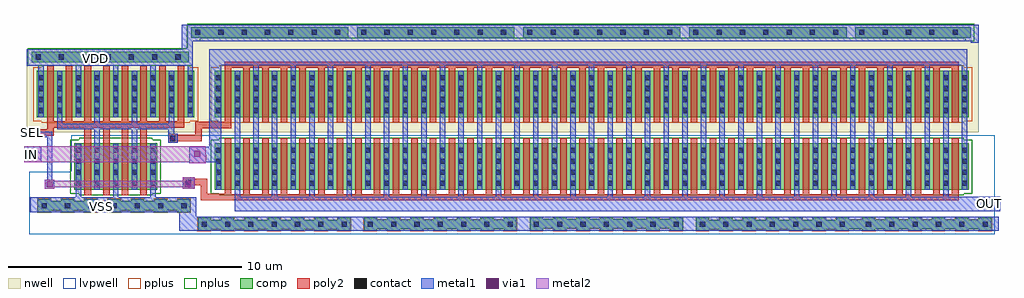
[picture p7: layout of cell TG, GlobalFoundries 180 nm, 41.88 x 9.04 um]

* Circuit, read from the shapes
.subckt TG IN OUT SEL VDD VSS
XM1 n1 SEL VSS VSS nfet_03v3 w=2u l=0.28u m=4
XM2 OUT SEL IN VSS nfet_03v3 w=2u l=0.28u m=40
XM3 n1 SEL VDD VDD pfet_03v3 w=2u l=0.28u m=8
XM4 OUT n1 IN VDD pfet_03v3 w=2u l=0.28u m=40
.ends

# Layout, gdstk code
import gdstk
lib = gdstk.Library(unit=1e-6, precision=1e-09)
def R(c, l, rs):  # rectangles x0, y0, x1, y1
    for r in rs: c.add(gdstk.rectangle(r[:2], r[2:], *l))
def A(c, l, x, y, w, h, nx, ny, dx, dy):  # array of equal rectangles
    R(c, l, [(x+i*dx, y+j*dy, x+i*dx+w, y+j*dy+h) for i in range(nx) for j in range(ny)])
nwell = (21, 0)
comp = (22, 0)
poly2 = (30, 0)
pplus = (31, 0)
nplus = (32, 0)
contact = (33, 0)
metal1 = (34, 0)
via1 = (35, 0)
metal2 = (36, 0)
lvpwell = (204, 0)

pmos_3p3_q3y3ku = lib.new_cell('pmos_3p3_Q3Y3KU')
R(pmos_3p3_q3y3ku, nwell, [(-16.61,-1.65,16.61,1.65)])
R(pmos_3p3_q3y3ku, comp, [(-16.18,-1,16.18,1)])
A(pmos_3p3_q3y3ku, poly2, -15.74, -1.22, 0.28, 2.44, 40, 1, 0.8, 0)
R(pmos_3p3_q3y3ku, pplus, [(-15.97,-1.23,15.97,-1.16), (-16.34,-1.16,16.34,1.16), (-15.97,1.16,15.97,1.23)])
A(pmos_3p3_q3y3ku, contact, -16.11, -0.815, 0.22, 0.22, 41, 4, 0.8, 0.47)
A(pmos_3p3_q3y3ku, metal1, -16.115, -0.99, 0.23, 1.98, 41, 1, 0.8, 0)

pmos_3p3_mlzuar = lib.new_cell('pmos_3p3_MLZUAR')
R(pmos_3p3_mlzuar, nwell, [(-3.81,-1.65,3.81,1.65)])
R(pmos_3p3_mlzuar, comp, [(-3.38,-1,3.38,1)])
A(pmos_3p3_mlzuar, poly2, -2.94, -1.22, 0.28, 2.44, 8, 1, 0.8, 0)
R(pmos_3p3_mlzuar, pplus, [(-3.17,-1.23,3.17,-1.16), (-3.54,-1.16,3.54,1.16), (-3.17,1.16,3.17,1.23)])
A(pmos_3p3_mlzuar, contact, -3.31, -0.815, 0.22, 0.22, 9, 4, 0.8, 0.47)
A(pmos_3p3_mlzuar, metal1, -3.315, -0.99, 0.23, 1.98, 9, 1, 0.8, 0)

nmos_3p3_ecasta = lib.new_cell('nmos_3p3_ECASTA')
R(nmos_3p3_ecasta, comp, [(-1.78,-1,1.78,1)])
A(nmos_3p3_ecasta, poly2, -1.34, -1.22, 0.28, 2.44, 4, 1, 0.8, 0)
R(nmos_3p3_ecasta, nplus, [(-1.57,-1.23,1.57,-1.16), (-1.94,-1.16,1.94,1.16), (-1.57,1.16,1.57,1.23)])
A(nmos_3p3_ecasta, contact, -1.71, -0.815, 0.22, 0.22, 5, 4, 0.8, 0.47)
A(nmos_3p3_ecasta, metal1, -1.715, -0.99, 0.23, 1.98, 5, 1, 0.8, 0)
R(nmos_3p3_ecasta, lvpwell, [(-1.9,-1.34,1.9,1.34)])

nmos_3p3_aebeg7 = lib.new_cell('nmos_3p3_AEBEG7')
R(nmos_3p3_aebeg7, comp, [(-16.18,-1,16.18,1)])
A(nmos_3p3_aebeg7, poly2, -15.74, -1.22, 0.28, 2.44, 40, 1, 0.8, 0)
R(nmos_3p3_aebeg7, nplus, [(-15.97,-1.23,15.97,-1.16), (-16.34,-1.16,16.34,1.16), (-15.97,1.16,15.97,1.23)])
A(nmos_3p3_aebeg7, contact, -16.11, -0.815, 0.22, 0.22, 41, 4, 0.8, 0.47)
A(nmos_3p3_aebeg7, metal1, -16.115, -0.99, 0.23, 1.98, 41, 1, 0.8, 0)
R(nmos_3p3_aebeg7, lvpwell, [(-16.3,-1.34,16.3,1.34)])

c_tg = lib.new_cell('TG')
A(c_tg, nwell, -11.87, -0.18, 0.315, 0.205, 6, 1, 1, 0)
R(c_tg, nwell, [(-6.35,-0.36,27.645,0.025), (-13.195,0.025,27.645,0.3), (-6.35,0.3,27.645,1.355)])
A(c_tg, comp, -5.85, -7.495, 0.535, 0.075, 7, 1, 1, 0)
A(c_tg, comp, 1.275, -7.495, 0.535, 0.085, 7, 1, 1, 0)
A(c_tg, comp, 8.4, -7.495, 0.535, 0.105, 7, 1, 1, 0)
A(c_tg, comp, 15.525, -7.495, 0.535, 0.065, 7, 1, 1, 0)
A(c_tg, comp, 22.65, -7.495, 0.535, 0.085, 6, 1, 1, 0)
A(c_tg, comp, 15.525, -7.04, 0.535, 0.11, 6, 1, 1, 0)
A(c_tg, comp, -5.85, -7.03, 0.535, 0.1, 7, 1, 1, 0)
A(c_tg, comp, 1.275, -7.02, 0.535, 0.09, 7, 1, 1, 0)
A(c_tg, comp, 22.65, -7.02, 0.535, 0.09, 6, 1, 1, 0)
A(c_tg, comp, 8.4, -7, 0.535, 0.07, 7, 1, 1, 0)
A(c_tg, comp, -12.72, -6.695, 0.535, 0.085, 7, 1, 1, 0)
A(c_tg, comp, -12.72, -6.22, 0.535, 0.09, 7, 1, 1, 0)
A(c_tg, comp, -6.15, 0.795, 6.745, 0.44, 4, 1, 7.125, 0)
R(c_tg, comp, [(15.525,-7.43,22.06,-7.41), (-5.85,-7.42,0.685,-7.03), (1.275,-7.41,7.81,-7.02), (15.525,-7.41,28.185,-7.04), (8.4,-7.39,14.935,-7), (21.525,-7.04,28.185,-7.02), (21.525,-7.02,22.06,-6.93), (-12.72,-6.61,-6.185,-6.22), (-12.995,-0.26,-6.25,0.18), (22.35,0.795,27.29,1.235)])
A(c_tg, poly2, -10.725, -3.52, 0.28, 0.44, 4, 1, 0.8, 0)
R(c_tg, poly2, [(-5.745,-6.19,26.775,-5.915), (-5.745,-5.915,-4.425,-5.91), (-5.745,-5.91,-5.465,-5.535), (-4.705,-5.91,-4.43,-5.71), (-6.51,-5.685,-5.985,-5.535), (-6.51,-5.535,-5.465,-5.255), (-6.51,-5.255,-5.985,-5.185), (-7.14,-3.725,-6.73,-3.66), (-7.14,-3.66,-5.695,-3.38), (-13.155,-3.48,-12.72,-3.425), (-13.155,-3.425,-12.045,-3.145), (-7.14,-3.38,-6.73,-3.335), (-5.975,-3.38,-5.695,-3.095), (-13.155,-3.145,-12.72,-3.065), (-12.325,-3.145,-12.045,-3.08), (-5.975,-3.095,-4.425,-2.815), (-12.325,-3.08,-6.445,-2.8), (-4.705,-0.645,-4.44,-0.505), (-4.705,-0.505,26.775,-0.24)])
A(c_tg, pplus, -5.88, -7.515, 0.595, 0.075, 7, 1, 1, 0)
A(c_tg, pplus, 1.245, -7.515, 0.595, 0.085, 7, 1, 1, 0)
A(c_tg, pplus, 8.37, -7.515, 0.595, 0.105, 7, 1, 1, 0)
A(c_tg, pplus, 15.495, -7.515, 0.595, 0.065, 7, 1, 1, 0)
A(c_tg, pplus, 22.62, -7.515, 0.595, 0.085, 6, 1, 1, 0)
A(c_tg, pplus, 15.495, -7.02, 0.595, 0.115, 6, 1, 1, 0)
A(c_tg, pplus, -5.88, -7.01, 0.595, 0.105, 7, 1, 1, 0)
A(c_tg, pplus, 1.245, -7, 0.595, 0.095, 7, 1, 1, 0)
A(c_tg, pplus, 22.62, -7, 0.595, 0.095, 6, 1, 1, 0)
A(c_tg, pplus, 8.37, -6.98, 0.595, 0.075, 7, 1, 1, 0)
A(c_tg, pplus, -12.75, -6.715, 0.595, 0.085, 7, 1, 1, 0)
A(c_tg, pplus, -12.75, -6.2, 0.595, 0.095, 7, 1, 1, 0)
R(c_tg, pplus, [(15.495,-7.45,22.09,-7.43), (-5.88,-7.44,0.715,-7.01), (1.245,-7.43,7.84,-7), (15.495,-7.43,28.215,-7.02), (8.37,-7.41,14.965,-6.98), (21.495,-7.02,28.215,-7), (21.495,-7,22.09,-6.905), (-12.75,-6.63,-6.155,-6.2)])
R(c_tg, nplus, [(-13.155,-0.42,-6.09,0.34), (-6.31,0.34,-6.09,0.635), (-6.31,0.635,-5.76,0.765), (27.055,0.635,27.45,0.765), (-6.31,0.765,27.45,1.395)])
A(c_tg, contact, -5.695, -7.32, 0.22, 0.22, 7, 1, 1, 0)
A(c_tg, contact, 1.43, -7.32, 0.22, 0.22, 7, 1, 1, 0)
A(c_tg, contact, 8.555, -7.32, 0.22, 0.22, 7, 1, 1, 0)
A(c_tg, contact, 15.68, -7.32, 0.22, 0.22, 7, 1, 1, 0)
A(c_tg, contact, 22.805, -7.32, 0.22, 0.22, 6, 1, 1, 0)
A(c_tg, contact, -12.565, -6.52, 0.22, 0.22, 7, 1, 1, 0)
A(c_tg, contact, -12.825, -0.145, 0.22, 0.22, 7, 1, 1, 0)
A(c_tg, contact, -5.98, 0.91, 0.22, 0.22, 7, 1, 1, 0)
A(c_tg, contact, 1.145, 0.91, 0.22, 0.22, 7, 1, 1, 0)
A(c_tg, contact, 8.27, 0.91, 0.22, 0.22, 7, 1, 1, 0)
A(c_tg, contact, 15.395, 0.91, 0.22, 0.22, 7, 1, 1, 0)
A(c_tg, contact, 22.52, 0.91, 0.22, 0.22, 5, 1, 1, 0)
R(c_tg, contact, [(-6.37,-5.52,-6.15,-5.3), (-7.055,-3.64,-6.835,-3.42), (-13.06,-3.37,-12.84,-3.15)])
A(c_tg, metal1, 0.52, -6.025, 0.23, 3.635, 17, 1, 1.6, 0)
A(c_tg, metal1, -3.48, -3.75, 0.23, 3.355, 19, 1, 1.6, 0)
A(c_tg, metal1, -11.1, -0.635, 0.23, 0.23, 3, 1, 1.6, 0)
R(c_tg, metal1, [(-6.665,-7.495,28.51,-6.89), (-6.665,-6.89,-5.935,-6.695), (-13.06,-6.695,-5.935,-6.06), (-4.28,-6.66,28.555,-6.025), (-11.1,-6.06,-10.87,-5.715), (-9.5,-6.06,-9.27,-5.725), (-7.9,-6.06,-7.67,-5.73), (-4.28,-6.025,-4.05,-5.73), (-2.68,-6.025,-2.45,-2.445), (-1.08,-6.025,-0.85,-2.445), (-12.43,-5.685,-12.02,-5.295), (-6.51,-5.685,-5.985,-5.185), (-12.33,-5.295,-12.1,-3.475), (-6.23,-4.585,-5.515,-4.555), (-13.32,-4.555,-12.59,-3.87), (-6.23,-4.555,-4.85,-3.895), (-5.375,-3.895,-4.85,-0.395), (-8.7,-3.775,-8.47,-3.13), (-10.3,-3.75,-10.07,-3.13), (-4.28,-3.75,-4.05,-2.445), (26.92,-3.75,27.15,-2.39), (-7.14,-3.725,-6.73,-3.335), (-13.155,-3.48,-12.72,-3.475), (-13.155,-3.475,-12.1,-3.245), (-7.14,-3.335,-6.87,-3.13), (-13.155,-3.245,-12.72,-3.065), (-11.9,-3.13,-6.87,-2.9), (-11.9,-2.9,-11.67,-2.61), (-10.3,-2.9,-10.07,-2.61), (-8.7,-2.9,-8.47,-2.615), (-7.1,-2.9,-6.87,-2.615), (-12.7,-0.745,-12.47,-0.405), (-6.3,-0.655,-6.07,-0.405), (26.92,-0.635,27.15,-0.395), (-13.195,-0.405,-6.07,0.3), (-5.375,-0.395,27.15,0.3), (-6.555,0.3,-6.07,0.65), (27.29,0.585,27.645,0.65), (-6.555,0.65,27.645,1.355)])
R(c_tg, via1, [(-12.345,-5.62,-12.085,-5.36), (-6.415,-5.62,-6.155,-5.36), (-13.08,-4.355,-12.82,-4.095), (-6.015,-4.31,-5.755,-4.05)])
R(c_tg, metal2, [(-12.43,-5.685,-12.02,-5.63), (-6.51,-5.685,-5.985,-5.63), (-12.43,-5.63,-5.985,-5.35), (-12.43,-5.35,-12.02,-5.295), (-6.51,-5.35,-5.985,-5.185), (-6.23,-4.585,-5.515,-4.555), (-13.32,-4.555,-5.505,-4.235), (-13.32,-4.235,-5.515,-3.87)])
R(c_tg, lvpwell, [(-13.1,-7.645,28.32,-4.965), (-7.49,-4.965,-2.585,-3.4), (20.305,-4.965,28.32,-3.4)])
c_tg.add(gdstk.Reference(pmos_3p3_q3y3ku, (11.035,-1.625)))
c_tg.add(gdstk.Reference(pmos_3p3_mlzuar, (-9.385,-1.625)))
c_tg.add(gdstk.Reference(nmos_3p3_ecasta, (-9.385,-4.74)))
c_tg.add(gdstk.Reference(nmos_3p3_aebeg7, (11.035,-4.74)))
c_tg.add(gdstk.Label('VDD', (-10.25,-0.095), layer=34, texttype=10))
c_tg.add(gdstk.Label('VSS', (-9.975,-6.45), layer=34, texttype=10))
c_tg.add(gdstk.Label('SEL', (-12.975,-3.29), layer=30, texttype=10))
c_tg.add(gdstk.Label('IN', (-13.005,-4.205), layer=34, texttype=10))
c_tg.add(gdstk.Label('OUT', (28.12,-6.31), layer=34, texttype=10))

lib.write_gds('TG.gds')
